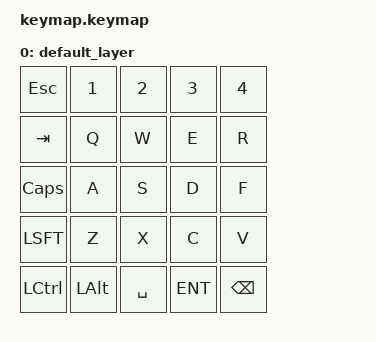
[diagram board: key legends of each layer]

/ {
    keymap {
        compatible = "zmk,keymap";

        default_layer {
            bindings = <
                &kp ESC    &kp 1     &kp 2     &kp 3     &kp 4
                &kp TAB    &kp Q     &kp W     &kp E     &kp R
                &kp CAPS   &kp A     &kp S     &kp D     &kp F
                &kp LSFT   &kp Z     &kp X     &kp C     &kp V
                &kp LCTL   &kp LALT  &kp SPC   &kp ENT   &kp BSPC
            >;
        };
    };
};
